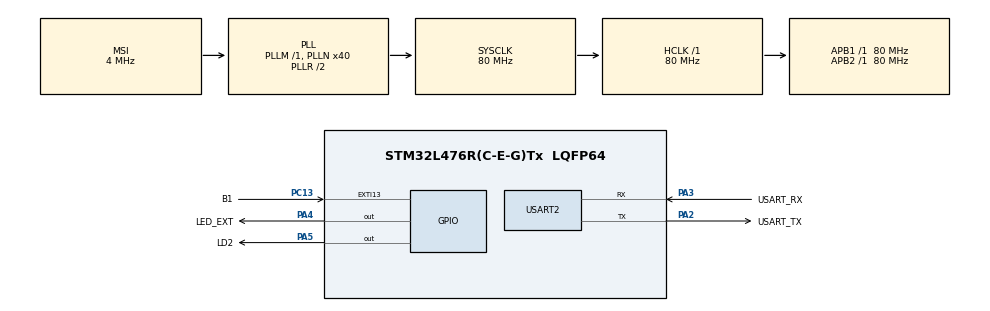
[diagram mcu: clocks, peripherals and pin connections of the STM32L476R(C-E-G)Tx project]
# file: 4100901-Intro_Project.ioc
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Mcu.Family=STM32L4
Mcu.Name=STM32L476R(C-E-G)Tx
Mcu.Package=LQFP64
NVIC.EXTI15_10_IRQn=true\:0\:0\:false\:false\:true\:true\:true\:true
NVIC.PriorityGroup=NVIC_PRIORITYGROUP_4
NVIC.USART2_IRQn=true\:0\:0\:false\:false\:true\:true\:true\:true
PA13\ (JTMS-SWDIO).GPIO_Label=TMS
PA13\ (JTMS-SWDIO).Mode=Serial_Wire
PA13\ (JTMS-SWDIO).Signal=SYS_JTMS-SWDIO
PA14\ (JTCK-SWCLK).GPIO_Label=TCK
PA14\ (JTCK-SWCLK).Mode=Serial_Wire
PA14\ (JTCK-SWCLK).Signal=SYS_JTCK-SWCLK
PA2.GPIO_Label=USART_TX
PA2.GPIO_Mode=GPIO_MODE_AF_PP
PA2.GPIO_PuPd=GPIO_NOPULL
PA2.GPIO_Speed=GPIO_SPEED_FREQ_VERY_HIGH
PA2.Mode=Asynchronous
PA2.Signal=USART2_TX
PA3.GPIO_Label=USART_RX
PA3.GPIO_Mode=GPIO_MODE_AF_PP
PA3.GPIO_PuPd=GPIO_NOPULL
PA3.GPIO_Speed=GPIO_SPEED_FREQ_VERY_HIGH
PA3.Mode=Asynchronous
PA3.Signal=USART2_RX
PA4.GPIO_Label=LED_EXT
PA4.Signal=GPIO_Output
PA5.GPIO_Label=LD2 
PA5.GPIO_ModeDefaultOutputPP=GPIO_MODE_OUTPUT_PP
PA5.GPIO_PuPd=GPIO_NOPULL
PA5.GPIO_Speed=GPIO_SPEED_FREQ_LOW
PA5.Signal=GPIO_Output
PB3\ (JTDO-TRACESWO).GPIO_Label=SWO
PB3\ (JTDO-TRACESWO).Signal=SYS_JTDO-SWO
PC13.GPIO_Label=B1
PC13.GPIO_ModeDefaultEXTI=GPIO_MODE_IT_FALLING
PC13.GPIO_PuPd=GPIO_NOPULL
PC13.Signal=GPXTI13
PC14-OSC32_IN\ (PC14).Mode=LSE-External-Oscillator
PC14-OSC32_IN\ (PC14).Signal=RCC_OSC32_IN
PC15-OSC32_OUT\ (PC15).Mode=LSE-External-Oscillator
PC15-OSC32_OUT\ (PC15).Signal=RCC_OSC32_OUT
PH0-OSC_IN\ (PH0).Signal=RCC_OSC_IN
PH1-OSC_OUT\ (PH1).Signal=RCC_OSC_OUT
ProjectManager.HeapSize=0x200
ProjectManager.StackSize=0x400
ProjectManager.TargetToolchain=CMake
RCC.ADCFreq_Value=16000000
RCC.AHBFreq_Value=80000000
RCC.APB1Freq_Value=80000000
RCC.APB1TimFreq_Value=80000000
RCC.APB2Freq_Value=80000000
RCC.APB2TimFreq_Value=80000000
RCC.CortexFreq_Value=80000000
RCC.HCLKFreq_Value=80000000
RCC.HSE_VALUE=8000000
RCC.HSI_VALUE=16000000
RCC.MSI_VALUE=4000000
RCC.PLLN=40
RCC.PREFETCH_ENABLE=1
RCC.SYSCLKFreq_VALUE=80000000
RCC.SYSCLKSource=RCC_SYSCLKSOURCE_PLLCLK
RCC.USBFreq_Value=16000000
RCC.VCOOutputFreq_Value=160000000
USART2.VirtualMode-Asynchronous=VM_ASYNC
board=NUCLEO-L476RG

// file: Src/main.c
/* USER CODE BEGIN Header */
/**
 ******************************************************************************
 * @file           : main.c
 * @brief          : Main program body
 ******************************************************************************
 * @attention
 *
 * Copyright (c) 2025 STMicroelectronics.
 * All rights reserved.
 *
 * This software is licensed under terms that can be found in the LICENSE file
 * in the root directory of this software component.
 * If no LICENSE file comes with this software, it is provided AS-IS.
 *
 ******************************************************************************
 */
/* USER CODE END Header */
#include "main.h"
#include "usart.h"
#include "gpio.h"

/* USER CODE BEGIN Includes */
#include <stdio.h>  // Para usar sprintf
#include <string.h> // Para usar strlen
/* USER CODE END Includes */

/* USER CODE BEGIN PV */
uint8_t rx_data;    // Buffer para recibir 1 byte por UART
char tx_buffer[50]; // Buffer para transmitir mensajes por UART

// Variables para el botón y LED externo
volatile uint8_t button_flag = 0;       // Flag para indicar que el botón fue presionado (volatile porque se modifica en interrupción)
volatile uint32_t led_ext_off_time = 0; // Momento en que se debe apagar el LED externo

/* USER CODE END PV */

void SystemClock_Config(void);

/* USER CODE BEGIN 0 */
// Callback que se ejecuta cuando se completa la recepción de 1 byte por UART2
void HAL_UART_RxCpltCallback(UART_HandleTypeDef *huart)
{
  if (huart->Instance == USART2)
  {
    // Hacemos eco del caracter recibido
    HAL_UART_Transmit(&huart2, &rx_data, 1, 10); // Enviar el byte recibido de vuelta

    // Volvemos a habilitar la interrupción de recepción UART para el próximo byte
    HAL_UART_Receive_IT(&huart2, &rx_data, 1);
  }
}
/* USER CODE END 0 */

int main(void)
{

  /* MCU Configuration--------------------------------------------------------*/

  /* Reset of all peripherals, Initializes the Flash interface and the Systick. */
  HAL_Init();

  /* Configure the system clock */
  SystemClock_Config();

  /* Initialize all configured peripherals */
  MX_GPIO_Init();
  MX_USART2_UART_Init();
  /* USER CODE BEGIN 2 */
  // Habilitar la recepción UART por interrupción por primera vez
  HAL_UART_Receive_IT(&huart2, &rx_data, 1);

  // Mensaje de bienvenida por UART
  char *welcome_msg = "Sistema de Control Basico - Listo\r\n";
  HAL_UART_Transmit(&huart2, (uint8_t *)welcome_msg, strlen(welcome_msg), 100);
  /* USER CODE END 2 */

  /* Infinite loop */
  /* USER CODE BEGIN WHILE */
  // Variables auxiliares
  uint32_t access_start_time = 0;
  uint8_t access_mode = 0; // 0: normal, 1: en espera para apagar LD2

  /*---Ejercicio de La guía #1, LD2 heartbeat, LED_EXTERNO
  while (1)
  {

    // ---- Heartbeat LED ----
    static uint32_t last_heartbeat_time = 0;
    if (HAL_GetTick() - last_heartbeat_time >= 500) // Cada 500 ms
    {
      HAL_GPIO_TogglePin(LD2_GPIO_Port, LD2_Pin); // Cambia el estado del LED LD2
      last_heartbeat_time = HAL_GetTick();
    }

    // ---- Procesamiento del Botón ----
    if (button_flag == 1)
    {
      // 1. Encender LED Externo
      HAL_GPIO_WritePin(LED_EXT_GPIO_Port, LED_EXT_Pin, GPIO_PIN_SET); // Enciende LED_EXT

      // 2. Calcular cuándo apagarlo (3 segundos desde ahora)
      led_ext_off_time = HAL_GetTick() + 3000;

      // 3. Enviar mensaje por UART
      sprintf(tx_buffer, "Boton B1 presionado! LED EXT ON.\r\n");
      HAL_UART_Transmit(&huart2, (uint8_t *)tx_buffer, strlen(tx_buffer), 100);

      // 4. Limpiar el flag
      button_flag = 0;
    }

    // ---- Control del Apagado del LED Externo ----
    // Si el tiempo de apagado es distinto de 0 (significa que está programado)
    // y ya hemos alcanzado o superado ese tiempo...
    if (led_ext_off_time != 0 && HAL_GetTick() >= led_ext_off_time)
    {
      // 1. Apagar el LED
      HAL_GPIO_WritePin(LED_EXT_GPIO_Port, LED_EXT_Pin, GPIO_PIN_RESET); // Apaga LED_EXT

      // 2. Enviar mensaje por UART (opcional)
      sprintf(tx_buffer, "LED EXT OFF (timeout).\r\n");
      HAL_UART_Transmit(&huart2, (uint8_t *)tx_buffer, strlen(tx_buffer), 100);

      // 3. Resetear el tiempo de apagado a 0 (para no volver a apagarlo)
      led_ext_off_time = 0;
    }
  }
  */

  //---Ejercicio Práctico #1 LD2, LED EXTERNO controlados por el Botón, diferentes mensajes en consola
  while (1)
  {
    // ---- Procesamiento del Botón ----
    if (button_flag == 1)
    {
      // Enviar mensaje UART
      sprintf(tx_buffer, "Acceso solicitado ----- CONCEDIDO.\r\n");
      HAL_UART_Transmit(&huart2, (uint8_t *)tx_buffer, strlen(tx_buffer), 100);

      // Encender ambos LEDs (interno y externo)
      HAL_GPIO_WritePin(LD2_GPIO_Port, LD2_Pin, GPIO_PIN_SET);
      HAL_GPIO_WritePin(LED_EXT_GPIO_Port, LED_EXT_Pin, GPIO_PIN_SET);

      // Guardar el tiempo actual para contar 4 segundos
      access_start_time = HAL_GetTick();
      access_mode = 1; // Activamos modo de acceso

      // Limpiar flag del botón para evitar múltiples lecturas
      button_flag = 0;
    }

    // Espera de 4 segundos
    if (access_mode == 1 && HAL_GetTick() - access_start_time >= 4000)
    {
      // Apagar ambos LEDs
      HAL_GPIO_WritePin(LD2_GPIO_Port, LD2_Pin, GPIO_PIN_RESET);
      HAL_GPIO_WritePin(LED_EXT_GPIO_Port, LED_EXT_Pin, GPIO_PIN_RESET);

      // Enviar mensaje UART
      sprintf(tx_buffer, "Sistema CERRADO.\r\n");
      HAL_UART_Transmit(&huart2, (uint8_t *)tx_buffer, strlen(tx_buffer), 100);

      // Salir del modo de acceso
      access_mode = 0;
    }
  }
  /* USER CODE END 3 */
}

void SystemClock_Config(void)
{
  RCC_OscInitTypeDef RCC_OscInitStruct = {0};
  RCC_ClkInitTypeDef RCC_ClkInitStruct = {0};

  /** Configure the main internal regulator output voltage
   */
  if (HAL_PWREx_ControlVoltageScaling(PWR_REGULATOR_VOLTAGE_SCALE1) != HAL_OK)
  {
    Error_Handler();
  }

  /** Configure LSE Drive Capability
   */
  HAL_PWR_EnableBkUpAccess();
  __HAL_RCC_LSEDRIVE_CONFIG(RCC_LSEDRIVE_LOW);

  /** Initializes the RCC Oscillators according to the specified parameters
   * in the RCC_OscInitTypeDef structure.
   */
  RCC_OscInitStruct.OscillatorType = RCC_OSCILLATORTYPE_LSE | RCC_OSCILLATORTYPE_MSI;
  RCC_OscInitStruct.LSEState = RCC_LSE_ON;
  RCC_OscInitStruct.MSIState = RCC_MSI_ON;
  RCC_OscInitStruct.MSICalibrationValue = 0;
  RCC_OscInitStruct.MSIClockRange = RCC_MSIRANGE_6;
  RCC_OscInitStruct.PLL.PLLState = RCC_PLL_ON;
  RCC_OscInitStruct.PLL.PLLSource = RCC_PLLSOURCE_MSI;
  RCC_OscInitStruct.PLL.PLLM = 1;
  RCC_OscInitStruct.PLL.PLLN = 40;
  RCC_OscInitStruct.PLL.PLLP = RCC_PLLP_DIV7;
  RCC_OscInitStruct.PLL.PLLQ = RCC_PLLQ_DIV2;
  RCC_OscInitStruct.PLL.PLLR = RCC_PLLR_DIV2;
  if (HAL_RCC_OscConfig(&RCC_OscInitStruct) != HAL_OK)
  {
    Error_Handler();
  }

  /** Initializes the CPU, AHB and APB buses clocks
   */
  RCC_ClkInitStruct.ClockType = RCC_CLOCKTYPE_HCLK | RCC_CLOCKTYPE_SYSCLK | RCC_CLOCKTYPE_PCLK1 | RCC_CLOCKTYPE_PCLK2;
  RCC_ClkInitStruct.SYSCLKSource = RCC_SYSCLKSOURCE_PLLCLK;
  RCC_ClkInitStruct.AHBCLKDivider = RCC_SYSCLK_DIV1;
  RCC_ClkInitStruct.APB1CLKDivider = RCC_HCLK_DIV1;
  RCC_ClkInitStruct.APB2CLKDivider = RCC_HCLK_DIV1;

  if (HAL_RCC_ClockConfig(&RCC_ClkInitStruct, FLASH_LATENCY_4) != HAL_OK)
  {
    Error_Handler();
  }

  /** Enable MSI Auto calibration
   */
  HAL_RCCEx_EnableMSIPLLMode();
}

/* USER CODE BEGIN 4 */
// Callback que se ejecuta cuando ocurre una interrupción externa (Botón B1)
void HAL_GPIO_EXTI_Callback(uint16_t GPIO_Pin)
{
  static uint32_t last_press_time = 0;   // Guarda el tick de la última pulsación válida
  uint32_t current_time = HAL_GetTick(); // Obtiene el tiempo actual en ms

  if (GPIO_Pin == B1_Pin) // Nos aseguramos que la interrupción es del B1
  {
    HAL_GPIO_WritePin(LD2_GPIO_Port, LD2_Pin, GPIO_PIN_SET);
    HAL_GPIO_WritePin(LED_EXT_GPIO_Port, LED_EXT_Pin, GPIO_PIN_SET);

    // Debounce sencillo: ignorar si han pasado menos de 200ms desde la última vez
    if (current_time - last_press_time > 200)
    {
      button_flag = 1;                // Activamos el flag para que el bucle principal lo procese
      last_press_time = current_time; // Actualizamos el tiempo de la última pulsación válida
    }
  }
}
/* USER CODE END 4 */

void Error_Handler(void)
{
  __disable_irq();
  while (1)
  {
  }
}
